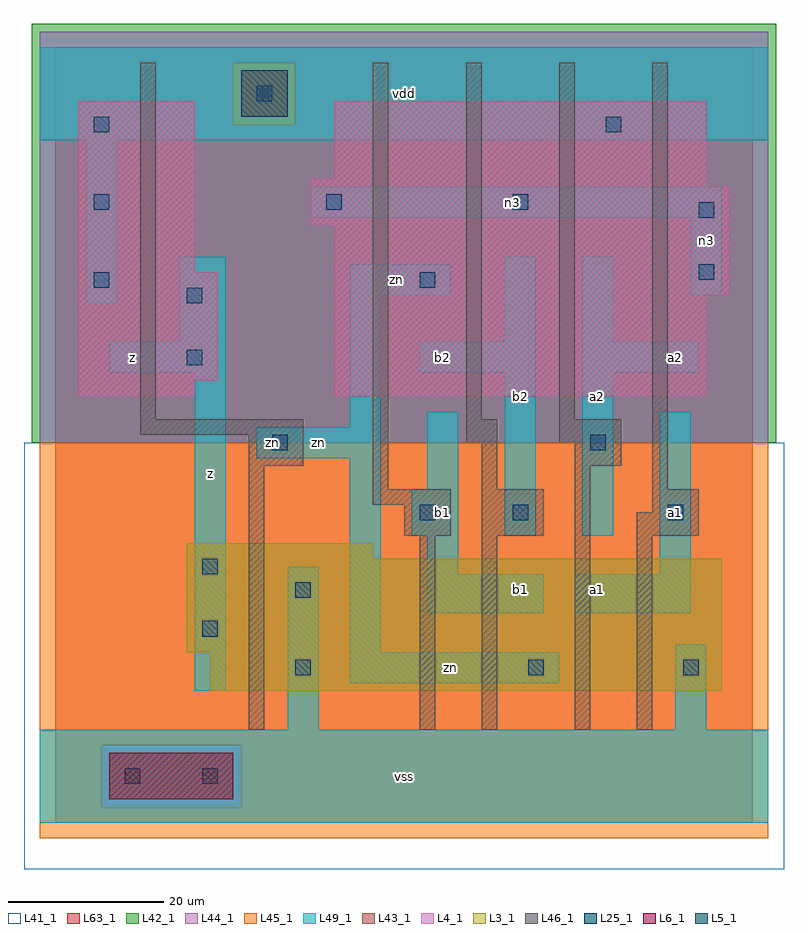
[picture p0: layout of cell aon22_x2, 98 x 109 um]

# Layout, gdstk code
import gdstk
lib = gdstk.Library(unit=1e-6, precision=1e-09)
def R(c, l, rs):  # rectangles x0, y0, x1, y1
    for r in rs: c.add(gdstk.rectangle(r[:2], r[2:], *l))
def A(c, l, x, y, w, h, nx, ny, dx, dy):  # array of equal rectangles
    R(c, l, [(x+i*dx, y+j*dy, x+i*dx+w, y+j*dy+h) for i in range(nx) for j in range(ny)])
L3_1 = (3, 1)
L4_1 = (4, 1)
L5_1 = (5, 1)
L6_1 = (6, 1)
L25_1 = (25, 1)
L41_1 = (41, 1)
L42_1 = (42, 1)
L43_1 = (43, 1)
L44_1 = (44, 1)
L45_1 = (45, 1)
L46_1 = (46, 1)
L49_1 = (49, 1)
L63_1 = (63, 1)

aon22_x2 = lib.new_cell('aon22_x2')
R(aon22_x2, L3_1, [(20,17,86,22), (17,22,86,34), (17,34,41,36)])
R(aon22_x2, L4_1, [(3,55,18,57), (36,55,84,68), (3,57,21,71), (36,68,87,77), (3,71,18,93), (33,77,87,82), (33,82,84,83), (36,83,84,93)])
R(aon22_x2, L5_1, [(24,91,30,97)])
R(aon22_x2, L6_1, [(7,3,23,9)])
A(aon22_x2, L25_1, 5, 69, 2, 2, 1, 3, 0, 10)
R(aon22_x2, L25_1, [(9,5,11,7), (19,5,21,7), (31,19,33,21), (61,19,63,21), (81,19,83,21), (19,24,21,26), (31,29,33,31), (19,32,21,34), (47,39,49,41), (59,39,61,41), (79,39,81,41), (28,48,30,50), (69,48,71,50), (17,59,19,61), (17,67,19,69), (47,69,49,71), (83,70,85,72), (83,78,85,80), (35,79,37,81), (59,79,61,81), (71,89,73,91), (26,93,28,95)])
R(aon22_x2, L41_1, [(-4,-6,94,49), (-3,-3,93,49)])
R(aon22_x2, L42_1, [(-3,49,93,103)])
R(aon22_x2, L43_1, [(7,3,23,9), (20,17,86,22), (17,22,86,34), (17,34,41,36), (3,55,18,57), (36,55,84,68), (3,57,21,71), (36,68,87,77), (3,71,18,93), (33,77,87,82), (33,82,84,83), (36,83,84,93), (24,91,30,97)])
R(aon22_x2, L44_1, [(6,2,24,10), (-2,49,92,90), (-2,90,23,98), (31,90,92,98), (-2,98,92,102)])
R(aon22_x2, L45_1, [(-2,-2,92,2), (-2,2,6,10), (24,2,92,10), (-2,10,92,49), (23,90,31,98)])
R(aon22_x2, L46_1, [(25,12,27,46), (47,12,49,37), (55,12,57,37), (67,12,69,46), (75,12,77,37), (45,37,51,41), (55,37,63,43), (75,37,83,40), (77,40,83,43), (41,41,51,43), (41,43,43,98), (55,43,57,49), (77,43,79,98), (25,46,32,50), (67,46,73,49), (53,49,57,52), (65,49,73,52), (11,50,32,52), (11,52,13,98), (53,52,55,98), (65,52,67,98)])
R(aon22_x2, L49_1, [(-2,0,92,12), (30,12,34,33), (80,12,84,23), (18,17,22,58), (38,18,65,22), (38,22,42,47), (48,27,63,32), (67,27,82,32), (48,32,52,37), (78,32,82,53), (46,37,52,43), (58,37,62,58), (68,37,72,58), (48,43,52,53), (26,47,42,51), (38,51,42,68), (7,58,22,62), (47,58,62,62), (68,58,83,62), (16,62,22,73), (58,62,62,73), (68,62,72,73), (4,67,8,88), (38,68,51,72), (82,68,86,78), (33,78,86,82), (-2,88,92,100)])
R(aon22_x2, L63_1, [(0,0,90,100)])
aon22_x2.add(gdstk.Label('zn', (28,49), layer=49, texttype=1))
aon22_x2.add(gdstk.Label('z', (10,60), layer=49, texttype=1))
aon22_x2.add(gdstk.Label('z', (10,60), layer=49, texttype=1))
aon22_x2.add(gdstk.Label('z', (20,45), layer=49, texttype=1))
aon22_x2.add(gdstk.Label('z', (20,45), layer=49, texttype=1))
aon22_x2.add(gdstk.Label('vss', (45,6), layer=49, texttype=1))
aon22_x2.add(gdstk.Label('vss', (45,6), layer=49, texttype=1))
aon22_x2.add(gdstk.Label('b1', (50,40), layer=49, texttype=1))
aon22_x2.add(gdstk.Label('b1', (50,40), layer=49, texttype=1))
aon22_x2.add(gdstk.Label('zn', (34,49), layer=49, texttype=1))
aon22_x2.add(gdstk.Label('b2', (50,60), layer=49, texttype=1))
aon22_x2.add(gdstk.Label('b2', (50,60), layer=49, texttype=1))
aon22_x2.add(gdstk.Label('zn', (44,70), layer=49, texttype=1))
aon22_x2.add(gdstk.Label('vdd', (45,94), layer=49, texttype=1))
aon22_x2.add(gdstk.Label('vdd', (45,94), layer=49, texttype=1))
aon22_x2.add(gdstk.Label('zn', (51,20), layer=49, texttype=1))
aon22_x2.add(gdstk.Label('a1', (70,30), layer=49, texttype=1))
aon22_x2.add(gdstk.Label('b1', (60,30), layer=49, texttype=1))
aon22_x2.add(gdstk.Label('b1', (60,30), layer=49, texttype=1))
aon22_x2.add(gdstk.Label('a1', (70,30), layer=49, texttype=1))
aon22_x2.add(gdstk.Label('b2', (60,55), layer=49, texttype=1))
aon22_x2.add(gdstk.Label('a2', (70,55), layer=49, texttype=1))
aon22_x2.add(gdstk.Label('a2', (70,55), layer=49, texttype=1))
aon22_x2.add(gdstk.Label('b2', (60,55), layer=49, texttype=1))
aon22_x2.add(gdstk.Label('a1', (80,40), layer=49, texttype=1))
aon22_x2.add(gdstk.Label('a1', (80,40), layer=49, texttype=1))
aon22_x2.add(gdstk.Label('a2', (80,60), layer=49, texttype=1))
aon22_x2.add(gdstk.Label('a2', (80,60), layer=49, texttype=1))
aon22_x2.add(gdstk.Label('n3', (84,75), layer=49, texttype=1))
aon22_x2.add(gdstk.Label('n3', (59,80), layer=49, texttype=1))

lib.write_gds('aon22_x2.gds')
